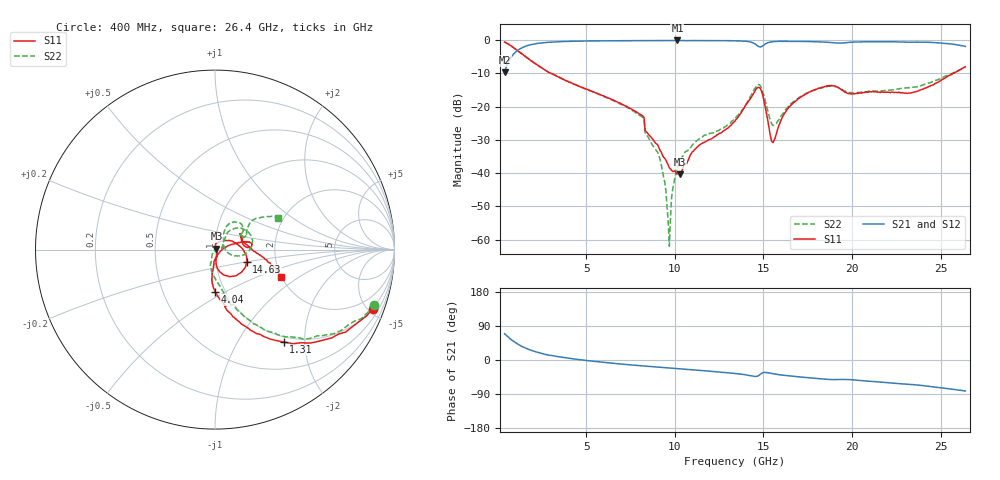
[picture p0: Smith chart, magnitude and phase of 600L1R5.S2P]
!  American Technical Ceramics  Date:  10/26/00
!  One Norden Lane
!  Huntington Station,  NY.  11746-2102
!  Tel:  (631) 622-4700  Fax:  (631) 622-4748
!  Part Number  600L1R5D  Mounting Orientation:  Horizontal
!  Description:  Low ESR, High Q Microwave capacitors
!  Application: Coupling, Bypass, Tuning, DC Block
!  Filters, Matching
# GHZ S DB R 50
! Freq  |S11|  S11 Ph  |S21|  S21 Ph  |S12|  S12 Ph  |S22|  S22 Ph
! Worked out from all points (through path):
!   401 points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, 400 MHz to 26.4 GHz, reference 50 ohm
!   highest |S21| = -0.07 dB at 10.15 GHz (marker M1); lowest = -9.6 dB at 400 MHz (marker M2)
!   group delay of S21, straight-line fit = 11.2 ps
!   lowest |S11| = -40.4 dB at 10.28 GHz (marker M3), VSWR 1.02, Z = 50.8 + j0.569 ohm
!   |S11| at or under -10 dB: 3.045 GHz to 25.71 GHz (22.66 GHz wide, 158 % of centre)
!   |S22| runs from -62.0 to -0.5 dB; largest |S21 - S12| = 0.0069
!   S11 on the Smith chart (normalised r, x): 400 MHz: 0.96, -5.34; 1.31 GHz: 0.91, -1.59; 4.04 GHz: 0.90, -0.45; 14.63 GHz: 1.41, -0.20; 26.4 GHz: 2.00, -0.72
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0.4  -0.55 -20.6  -9.64 69.3  -9.65 69.3  -0.53 -19.3
1.31  -3.85 -53.4  -2.47 37.6  -2.48 37.8  -3.85 -49.2
2.35  -7.81 -73.0  -0.88 19.0  -0.88 19.1  -7.84 -66.5
4.04  -12.59 -89.7  -0.34 4.5  -0.35 4.3  -12.56 -79.3
4.755  -14.16 -93.6  -0.27 0.1  -0.27 0.1  -14.22 -84.0
8.135  -22.53 -94.7  -0.12 -15.5  -0.13 -15.5  -23.04 -107.2
8.46  -27.98 -77.6  -0.13 -16.5  -0.14 -16.6  -28.83 -119.8
9.11  -32.39 -62.6  -0.13 -19.1  -0.14 -19.1  -34.76 -126.8
9.37  -35.22 -50.0  -0.13 -19.9  -0.14 -20.0  -41.12 -131.4
9.695  -38.39 -27.0  -0.11 -21.1  -0.12 -21.1  -61.97 -26.7
10.15  -40.24 19.0  -0.07 -22.9  -0.09 -23.0  -38.84 20.3
10.28  -40.40 35.9  -0.08 -23.5  -0.09 -23.5  -36.88 19.4
11.255  -32.20 83.3  -0.10 -26.9  -0.11 -26.9  -30.19 12.2
13.4  -24.32 50.1  -0.19 -35.8  -0.21 -35.8  -23.56 42.5
14.635  -14.47 -20.7  -1.51 -43.0  -1.50 -43.1  -13.61 29.0
14.96  -16.46 -70.6  -1.71 -33.8  -1.70 -33.9  -15.47 -9.2
15.545  -30.80 -34.2  -0.43 -36.2  -0.43 -36.2  -25.65 14.8
16.39  -20.54 17.3  -0.32 -41.5  -0.32 -41.5  -20.09 61.6
17.755  -15.18 14.8  -0.42 -47.6  -0.43 -47.6  -15.29 59.2
22.11  -15.66 30.3  -0.46 -60.3  -0.45 -60.3  -15.00 23.8
23.67  -15.39 11.9  -0.57 -65.9  -0.57 -65.9  -14.00 28.4
26.4  -7.97 -22.1  -1.86 -81.9  -1.87 -82.2  -8.12 26.6
